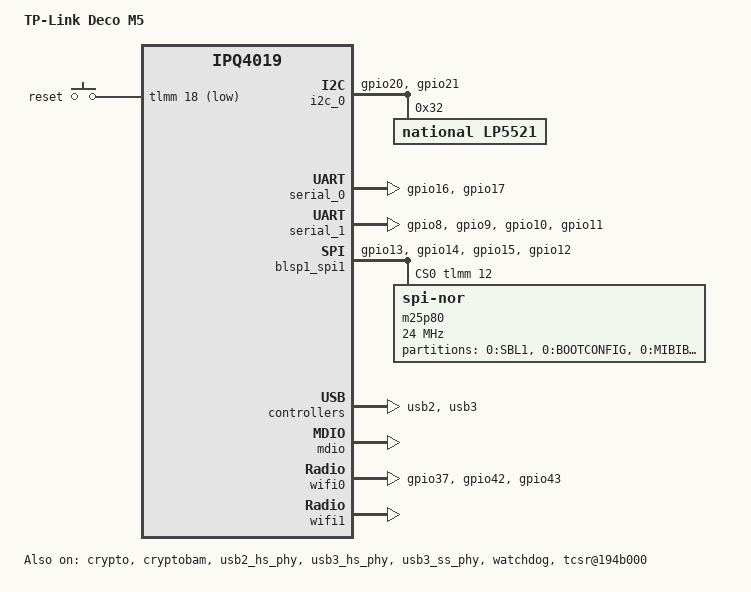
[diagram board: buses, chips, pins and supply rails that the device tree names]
// SPDX-License-Identifier: ISC
// Copyright (c) 2015, The Linux Foundation. All rights reserved.
// Copyright (c) 2021, Frank Veltmans <veltmans.frank@gmail.com>

#include "qcom-ipq4019.dtsi"
#include <dt-bindings/gpio/gpio.h>
#include <dt-bindings/input/input.h>
#include <dt-bindings/soc/qcom,tcsr.h>
#include <dt-bindings/leds/common.h>

 / {
	model = "TP-Link Deco M5";
	compatible = "tplink,deco-m5", "qcom,ipq4019";

	aliases {
		led-boot = &led_blue;
		led-failsafe = &led_red;
		led-running = &led_green;
		led-upgrade = &led_red;
	};

	keys {
		compatible = "gpio-keys";

		reset {
			label = "reset";
			gpios = <&tlmm 18 GPIO_ACTIVE_LOW>;
			linux,code = <KEY_RESTART>;
		};
	};

	soc {
		pinctrl@1000000 {
			serial_0_pins: serial_0_pinmux {
				pinmux {
					pins = "gpio16", "gpio17";
					function = "blsp_uart0";
					bias-disable;
				};
			};

			serial_1_pins: serial_1_pinmux {
				pinmux {
					pins = "gpio8", "gpio9", "gpio10", "gpio11";
					function = "blsp_uart1";
					bias-disable;
				};
			};

			spi_0_pins: spi_0_pinmux {
				pinmux {
					pins = "gpio13", "gpio14", "gpio15";
					function = "blsp_spi0";
					drive-strength = <12>;
					bias-disable;
				};
				pinmux_cs {
					pins = "gpio12";
					function = "gpio";
					drive-strength = <2>;
					bias-disable;
					output-high;
				};
			};

			i2c_0_pins: i2c_0_pinmux {
				pinmux {
					pins = "gpio20", "gpio21";
					function = "blsp_i2c0";
					drive-strength = <16>;
					bias-disable;
				};
			};

			wifi_pins: wifi_pinmux {
				pinmux_1 {
					pins = "gpio37";
					function = "gpio";
					drive-strength = <6>;
					bias-pull-up;
					output-high;
				};

				pinmux_2 {
					pins = "gpio42";
					function = "gpio";
					drive-strength = <6>;
					bias-pull-up;
					output-high;
				};

				pinmux_3 {
					pins = "gpio43";
					function = "gpio";
					drive-strength = <6>;
					bias-pull-up;
				};
			};
		};

		i2c_0: i2c@78b7000 {
			pinctrl-0 = <&i2c_0_pins>;
			pinctrl-names = "default";
			status = "okay";
			lp5521@32 {
				compatible = "national,lp5521";
				reg = <0x32>;
				clock-mode = /bits/ 8 <2>;
				led_red: led@0 {
					reg = <0>;
					chan-name = "fault:red";
					led-cur = /bits/ 8 <0x2f>;
					max-cur = /bits/ 8 <0x5f>;
					color = <LED_COLOR_ID_RED>;
					function = LED_FUNCTION_FAULT;
				};
				led_green: led@1 {
					reg = <1>;
					chan-name = "power:green";
					led-cur = /bits/ 8 <0x2f>;
					max-cur = /bits/ 8 <0x5f>;
					color = <LED_COLOR_ID_GREEN>;
					function = LED_FUNCTION_POWER;
				};
				led_blue: led@2{
					reg = <2>;
					chan-name = "boot:blue";
					led-cur = /bits/ 8 <0x2f>;
					max-cur = /bits/ 8 <0x5f>;
					color = <LED_COLOR_ID_BLUE>;
				};
			};
		};

		serial_0: serial@78af000 {
			pinctrl-0 = <&serial_0_pins>;
			pinctrl-names = "default";
			status = "okay";
		};

		serial_1: serial@78b0000 {
			pinctrl-0 = <&serial_1_pins>;
			pinctrl-names = "default";
			status = "okay";
		};

		tcsr@194b000 {
			compatible = "qcom,tcsr";
			reg = <0x194b000 0x100>;
			qcom,usb-hsphy-mode-select = <TCSR_USB_HSPHY_HOST_MODE>;
			status = "okay";
		};

		edma@c080000 {
			status = "okay";

			gmac0 {
				qcom,poll_required = <0x1>;
				qcom,phy_mdio_addr = <0x4>;
				vlan_tag = <0x2 0x20>;
			};

			gmac1 {
				qcom,poll_required = <0x1>;
				qcom,phy_mdio_addr = <0x3>;
				vlan_tag = <0x1 0x1e>;
			};
		};

		ess-switch@c000000 {
			status = "okay";
		};

		ess_tcsr@1953000 {
			compatible = "qcom,tcsr";
			reg = <0x1953000 0x1000>;
			qcom,ess-interface-select = <TCSR_ESS_PSGMII>;
		};

		ess-psgmii@98000 {
			status = "okay";
		};

		tcsr@1949000 {
			compatible = "qcom,tcsr";
			reg = <0x1949000 0x100>;
			qcom,wifi_glb_cfg = <TCSR_WIFI_GLB_CFG>;
		};

		tcsr@1957000 {
			compatible = "qcom,tcsr";
			reg = <0x1957000 0x100>;
			qcom,wifi_noc_memtype_m0_m2 = <TCSR_WIFI_NOC_MEMTYPE_M0_M2>;
		};
	};
};

&blsp_dma {
	status = "okay";
};

&blsp1_spi1 {
	pinctrl-0 = <&spi_0_pins>;
	pinctrl-names = "default";
	status = "okay";
	cs-gpios = <&tlmm 12 GPIO_ACTIVE_HIGH>;

	m25p80@0 {
		#address-cells = <1>;
		#size-cells = <0>;
		reg = <0>;
		compatible = "jedec,spi-nor";
		spi-max-frequency = <24000000>;

		partitions {
			#address-cells = <1>;
			#size-cells = <1>;
			compatible = "fixed-partitions";

			partition@0 {
				label = "0:SBL1";
				reg = <0x00000000 0x00030000>;
				read-only;
			};
			partition@30000 {
				label = "0:BOOTCONFIG";
				reg = <0x00030000 0x00010000>;
				read-only;
			};
			partition@40000 {
				label = "0:MIBIB";
				reg = <0x00040000 0x00010000>;
				read-only;
			};
			partition@50000 {
				label = "0:BOOTCONFIG1";
				reg = <0x00050000 0x00010000>;
				read-only;
			};
			partition@60000 {
				label = "0:QSEE";
				reg = <0x00060000 0x00060000>;
				read-only;
			};
			partition@c0000 {
				label = "0:CDT";
				reg = <0x000c0000 0x00010000>;
				read-only;
			};
			partition@d0000 {
				label = "0:DDRPARAMS";
				reg = <0x000d0000 0x00010000>;
				read-only;
			};
			partition@e0000 {
				label = "0:APPSBLENV";
				reg = <0x000e0000 0x00010000>;
				read-only;
			};
			partition@f0000 {
				label = "0:APPSBL";
				reg = <0x000f0000 0x00080000>;
				read-only;
			};
			partition@170000 {
				label = "0:ART";
				reg = <0x00170000 0x00010000>;
				read-only;
			};
			partition@180000 {
				label = "OPAQUE";
				reg = <0x00180000 0x000c0000>;
				read-only;
			};
			partition@240000 {
				label = "0:HLOS";
				reg = <0x00240000 0x00300000>;
				read-only;
			};
			partition@540000 {
				label = "0:rootfs";
				reg = <0x00540000 0x007d0000>;
				read-only;
			};
			partition@d10000 {
				label = "0:APPSBL_1";
				reg = <0x00d10000 0x00080000>;
				read-only;
			};
			partition@d90000 {
				label = "firmware";
				reg = <0x00d90000 0x01040000>;
			};
		};
	};
};

&crypto {
	status = "okay";
};

&cryptobam {
	status = "okay";
};

&usb2 {
	status = "okay";
};

&usb2_hs_phy {
	status = "okay";
};

&usb3 {
	status = "okay";
};

&usb3_hs_phy {
	status = "okay";
};

&usb3_ss_phy {
	status = "okay";
};

&mdio {
	status = "okay";
};

&watchdog {
	status = "okay";
};

&wifi0 {
	pinctrl-0 = <&wifi_pins>;
	pinctrl-names = "default";
	qcom,ath10k-calibration-variant = "TP-Link_Deco_M5_EU_v3.0";
	status = "okay";
};

&wifi1 {
	qcom,ath10k-calibration-variant = "TP-Link_Deco_M5_EU_v3.0";
	status = "okay";
};
